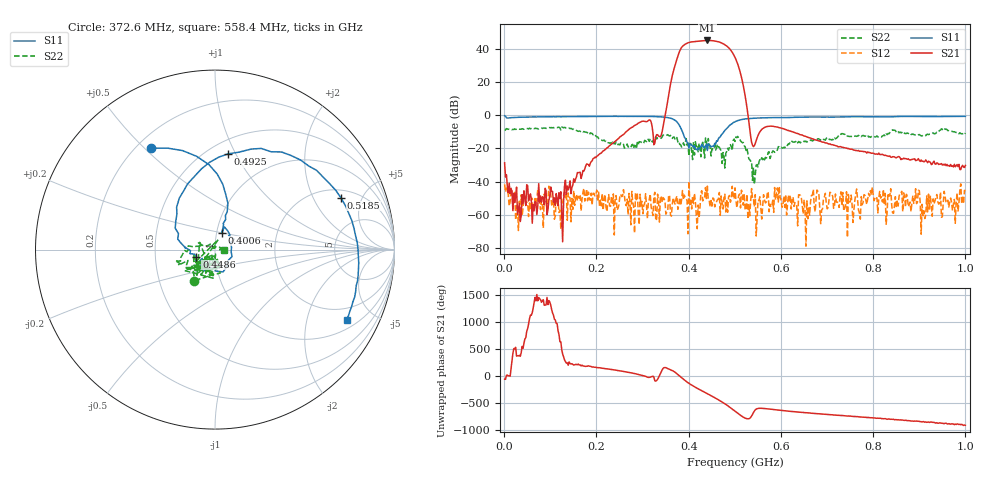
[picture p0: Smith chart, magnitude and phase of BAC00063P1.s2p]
!measured: 2026-10-27T15:15:53
!cal_instance: BBtestOct27
!cal_created: 2026-10-27T14:45
!cal_file: BBtesting.cal
!port1_delay_ps: -58.63
!port2_delay_ps: -59.31
!host: dhcp-10-250-247-203.harvard.edu
! Created with skrf 2.1.0 (http://scikit-rf.org).
# Hz S RI R 50.0
!freq ReS11 ImS11 ReS21 ImS21 ReS12 ImS12 ReS22 ImS22
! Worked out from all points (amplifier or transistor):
!   501 points, 1 MHz to 1 GHz, reference 50 ohm
!   highest |S21| = 45.0 dB at 440.6 MHz (marker M1)
!   |S21| within 3 dB of that: 388.9 MHz to 480.8 MHz (91.91 MHz wide, 21.1 % of centre)
!   unconditionally stable (mu >= 1): start of sweep to 386.5 MHz; 401.1 MHz to 428.1 MHz; 495.1 MHz to end of sweep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
!   at 166.8 MHz: K = 4867.29, MAG = -30.1 dB, |S12| = -57.7 dB
!   at 500.5 MHz: K = 1.09, MAG = 37.5 dB, |S12| = -43.8 dB
!   at 1 GHz: K = 415.44, MAG = -21.5 dB, |S12| = -45.6 dB
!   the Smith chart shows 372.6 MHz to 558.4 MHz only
!   S11 on the Smith chart (normalised r, x): 372.6 MHz: 0.26, +0.52; 400.6 MHz: 1.06, +0.20; 448.6 MHz: 0.81, -0.06; 492.5 MHz: 0.62, +0.93; 518.5 MHz: 2.45, +3.34; 558.4 MHz: 1.39, -3.49
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1000000  -0.3417 0.8992  0.0172 -0.0325  -0.00285 0.00776  0.3355 -0.0871
1.68832e8  0.4992 -0.7603  -0.0149 -0.00475  -1.04e-06 -0.00304  -0.0317 -0.3277
3.34666e8  -0.8371 -0.3395  0.1958 -0.1316  0.00205 0.00163  0.0777 -0.1965
3.72628e8  -0.3569 0.5647  24.16 31.76  -9.18e-05 -0.0031  -0.1192 -0.1731
3.84616e8  0.0434 0.3639  91.71 -60.6  0.00145 -0.00235  -0.0854 -0.0701
3.92608e8  0.0581 0.1901  0.6862 -137.8  0.00296 -0.00147  -0.0864 -0.1145
4.006e8  0.0393 0.0942  -113.7 -105.7  -0.00782 0.00647  0.0183 0.0561
4.1059e8  0.076 0.0778  -160.6 33.52  0.000693 0.00206  -0.0771 -0.1391
4.22578e8  0.0747 -0.0593  -60.9 160.7  -0.000304 -0.000739  -0.052 -0.1313
4.3057e8  -2.83e-05 -0.1186  46.7 168.5  0.000525 -0.00256  -0.0407 -0.1465
4.4056e8  -0.0715 -0.0487  156.1 87.17  -0.00698 -0.00219  -0.0857 0.0407
4.48552e8  -0.104 -0.0386  175.8 -22.27  -0.00229 -0.00139  -0.019 -0.0557
4.58542e8  -0.1366 -0.00577  98.59 -138.8  -0.00197 -0.000897  0.0123 -0.0887
4.66534e8  -0.2075 0.0586  -12 -159.7  -0.00022 0.00469  -0.0866 -0.0657
4.78522e8  -0.1988 0.287  -122.4 -50.66  0.000124 0.00418  0.00359 -0.0253
4.92508e8  0.0737 0.5335  -41.72 76.07  -0.00273 -0.00118  -0.075 -0.0834
5.005e8  0.3124 0.5451  21.98 50.59  0.00617 -0.00195  -0.1504 -0.0607
5.18482e8  0.7007 0.2894  5.451 -5.562  0.000919 -0.00172  -0.1489 0.0209
5.58442e8  0.7329 -0.3906  -0.1783 0.3259  -0.000712 -0.000218  0.0522 -0.0038
6.68332e8  0.0654 -0.8785  0.1742 0.0858  0.00165 -0.00355  0.0303 -0.1637
8.34166e8  -0.5926 -0.6697  0.0123 -0.0562  -0.00184 0.00312  -0.1714 -0.2171
1e9  -0.8913 -0.245  -0.0294 0.00856  0.00507 0.00132  -0.235 -0.17
